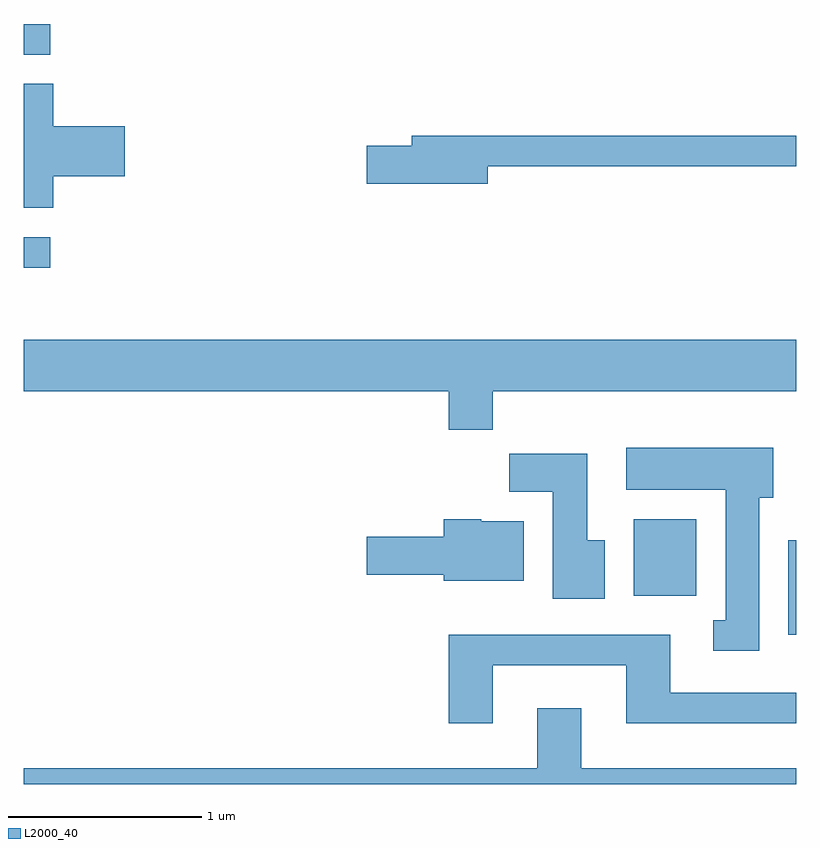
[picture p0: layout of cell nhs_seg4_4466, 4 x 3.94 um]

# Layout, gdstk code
import gdstk
lib = gdstk.Library(unit=1e-6, precision=1e-09)
def R(c, l, rs):  # rectangles x0, y0, x1, y1
    for r in rs: c.add(gdstk.rectangle(r[:2], r[2:], *l))
def P(c, l, *ps):  # polygons
    for p in ps: c.add(gdstk.Polygon(p, *l))
L2000_40 = (2000, 40)

nhs_seg4_4466 = lib.new_cell('nhs_seg4_4466')
R(nhs_seg4_4466, L2000_40, [(319.571,1346.756,319.611,1347.244), (318.771,1346.956,319.094,1347.354), (315.611,1348.656,315.748,1348.814), (315.611,1349.761,315.748,1349.919)])
P(nhs_seg4_4466, L2000_40, [(315.764,1349.131),(316.134,1349.131),(316.134,1349.389),(315.764,1349.389),(315.764,1349.609),(315.611,1349.609),(315.611,1348.966),(315.764,1348.966)],
  [(318.014,1349.181),(319.611,1349.181),(319.611,1349.339),(317.621,1349.339),(317.621,1349.289),(317.386,1349.289),(317.386,1349.091),(318.014,1349.091)],
  [(318.039,1348.016),(319.611,1348.016),(319.611,1348.284),(315.611,1348.284),(315.611,1348.016),(317.811,1348.016),(317.811,1347.816),(318.039,1347.816)],
  [(319.419,1347.466),(319.494,1347.466),(319.494,1347.724),(318.731,1347.724),(318.731,1347.506),(319.246,1347.506),(319.246,1346.829),(319.183,1346.829),(319.183,1346.671),(319.419,1346.671)],
  [(318.619,1347.244),(318.529,1347.244),(318.529,1347.694),(318.126,1347.694),(318.126,1347.496),(318.351,1347.496),(318.351,1346.941),(318.619,1346.941)],
  [(318.199,1347.344),(317.98,1347.344),(317.98,1347.354),(317.786,1347.354),(317.786,1347.264),(317.386,1347.264),(317.386,1347.066),(317.786,1347.066),(317.786,1347.036),(318.199,1347.036)],
  [(318.039,1346.596),(318.731,1346.596),(318.731,1346.296),(319.611,1346.296),(319.611,1346.454),(318.959,1346.454),(318.959,1346.754),(317.811,1346.754),(317.811,1346.296),(318.039,1346.296)],
  [(319.611,1346.064),(318.499,1346.064),(318.499,1346.374),(318.271,1346.374),(318.271,1346.064),(315.611,1346.064),(315.611,1345.982),(319.611,1345.982)])

lib.write_gds('nhs_seg4_4466.gds')
